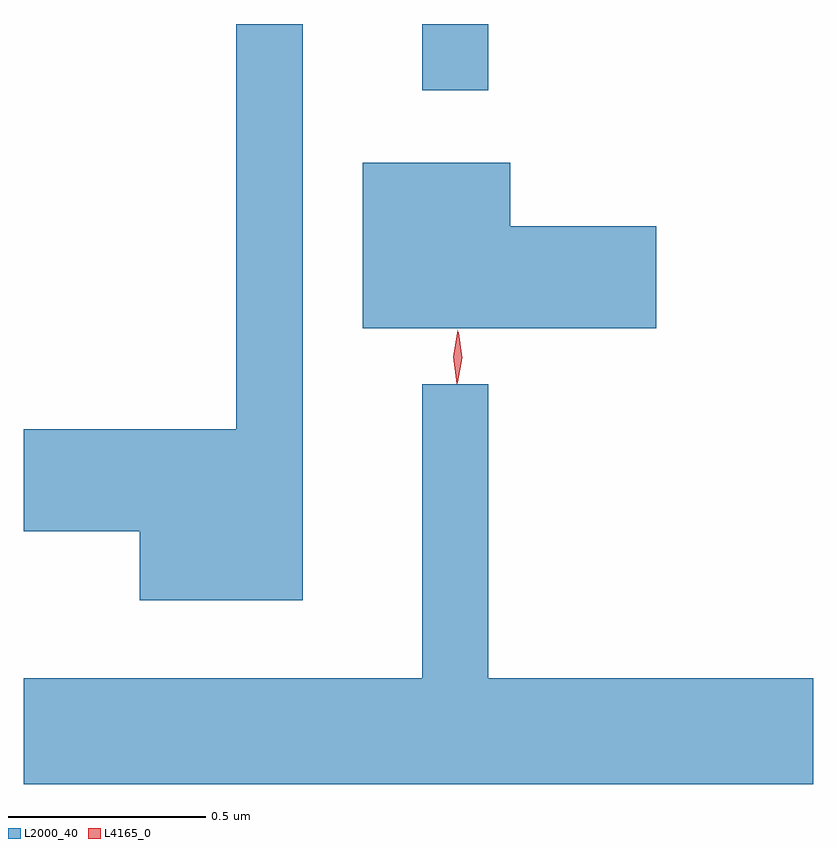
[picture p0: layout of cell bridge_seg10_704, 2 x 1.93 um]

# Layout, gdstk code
import gdstk
lib = gdstk.Library(unit=1e-6, precision=1e-09)
def R(c, l, rs):  # rectangles x0, y0, x1, y1
    for r in rs: c.add(gdstk.rectangle(r[:2], r[2:], *l))
def P(c, l, *ps):  # polygons
    for p in ps: c.add(gdstk.Polygon(p, *l))
L2000_40 = (2000, 40)
L4165_0 = (4165, 0)

bridge_seg10_704 = lib.new_cell('bridge_seg10_704')
R(bridge_seg10_704, L2000_40, [(1011.141,2097.913,1011.309,2098.081)])
P(bridge_seg10_704, L2000_40, [(1010.839,2098.081),(1010.671,2098.081),(1010.671,2097.054),(1010.132,2097.054),(1010.132,2096.796),(1010.426,2096.796),(1010.426,2096.621),(1010.839,2096.621)],
  [(1011.734,2097.569),(1011.364,2097.569),(1011.364,2097.729),(1010.991,2097.729),(1010.991,2097.311),(1011.734,2097.311)],
  [(1012.132,2096.424),(1011.309,2096.424),(1011.309,2097.168),(1011.141,2097.168),(1011.141,2096.424),(1010.132,2096.424),(1010.132,2096.156),(1012.132,2096.156)])
P(bridge_seg10_704, L4165_0, [(1011.231,2097.173),(1011.223,2097.236),(1011.233,2097.299),(1011.234,2097.3),(1011.234,2097.299),(1011.243,2097.236),(1011.232,2097.173),(1011.232,2097.173)],
  [(1011.229,2097.17),(1011.229,2097.17),(1011.22,2097.238),(1011.231,2097.305),(1011.231,2097.306),(1011.232,2097.305),(1011.24,2097.238),(1011.23,2097.17)])

lib.write_gds('bridge_seg10_704.gds')
